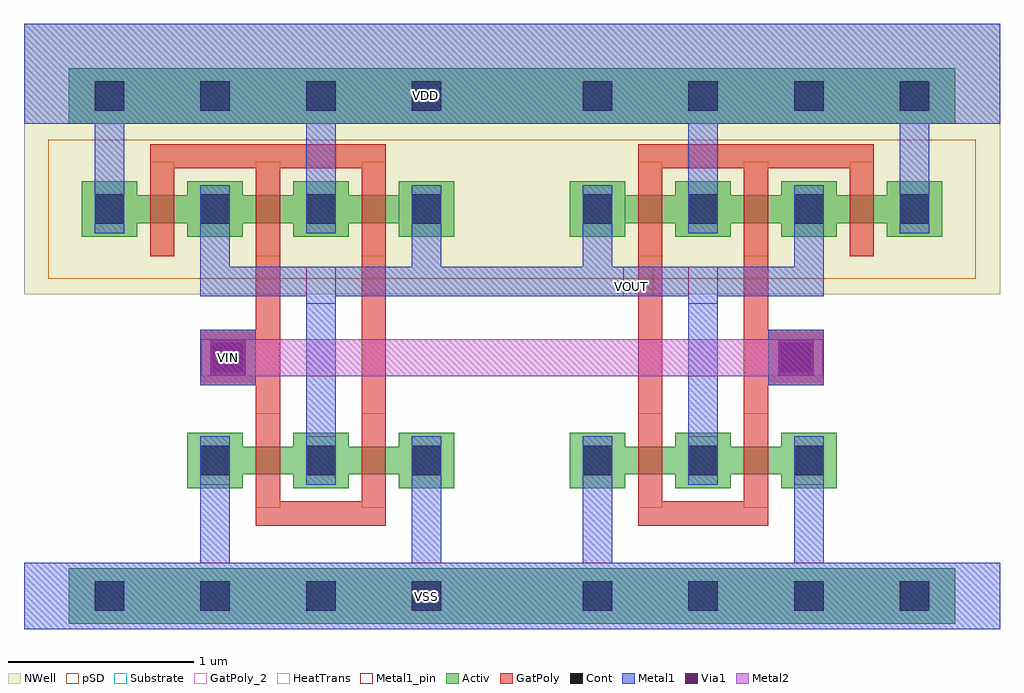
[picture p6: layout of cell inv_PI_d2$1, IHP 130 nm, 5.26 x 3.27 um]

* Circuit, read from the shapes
.subckt inv_PI_d2$1 VDD VIN VOUT VSS
XM1 VOUT VIN VSS VSS sg13_lv_nmos w=0.15u l=0.13u m=4
XM2 VOUT VIN VDD VDD sg13_lv_pmos w=0.15u l=0.13u m=6
.ends

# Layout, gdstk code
from math import pi, radians
import gdstk
lib = gdstk.Library(unit=1e-6, precision=5e-09)
def R(c, l, rs):  # rectangles x0, y0, x1, y1
    for r in rs: c.add(gdstk.rectangle(r[:2], r[2:], *l))
def A(c, l, x, y, w, h, nx, ny, dx, dy):  # array of equal rectangles
    R(c, l, [(x+i*dx, y+j*dy, x+i*dx+w, y+j*dy+h) for i in range(nx) for j in range(ny)])
Activ = (1, 0)
GatPoly = (5, 0)
GatPoly_2 = (5, 2)
Cont = (6, 0)
Metal1 = (8, 0)
Metal1_pin = (8, 2)
Metal2 = (10, 0)
pSD = (14, 0)
Via1 = (19, 0)
NWell = (31, 0)
Substrate = (40, 0)
HeatTrans = (51, 0)

pmos_1_1_1_1 = lib.new_cell('pmos$1$1$1$1')
A(pmos_1_1_1_1, Activ, 0, 0, 0.3, 0.3, 4, 1, 0.57, 0)
R(pmos_1_1_1_1, Activ, [(0,0.075,2.01,0.225)])
A(pmos_1_1_1_1, GatPoly, 0.37, -0.105, 0.13, 0.51, 3, 1, 0.57, 0)
R(pmos_1_1_1_1, GatPoly, [(0.37,-0.105,0.5,0.405)])
A(pmos_1_1_1_1, Cont, 0.07, 0.07, 0.16, 0.16, 4, 1, 0.57, 0)
A(pmos_1_1_1_1, Metal1, 0.64, 0.02, 0.16, 0.26, 3, 1, 0.57, 0)
R(pmos_1_1_1_1, Metal1, [(0.07,0.02,0.23,0.28), (0.07,0.02,0.23,0.28), (0.64,0.02,0.8,0.28)])
R(pmos_1_1_1_1, pSD, [(-0.18,-0.225,2.19,0.525)])
R(pmos_1_1_1_1, NWell, [(-0.31,-0.31,2.32,0.61)])
R(pmos_1_1_1_1, Substrate, [(1.71,0,2.01,0.3)])
A(pmos_1_1_1_1, HeatTrans, 0.37, -0.105, 0.13, 0.51, 3, 1, 0.57, 0)
pmos_1_1_1_1.add(gdstk.Label('pmos', (0.435,0.15), layer=63, texttype=0))
pmos_1_1_1_1.add(gdstk.Label('pmos', (0.435,0.15), layer=51, texttype=0))
pmos_1_1_1_1.add(gdstk.Label('pmos', (1.005,0.15), layer=51, texttype=0))
pmos_1_1_1_1.add(gdstk.Label('pmos', (1.575,0.15), layer=51, texttype=0))

nmos_9_3_1 = lib.new_cell('nmos$9$3$1')
A(nmos_9_3_1, Activ, 0, 0, 0.3, 0.3, 3, 1, 0.57, 0)
R(nmos_9_3_1, Activ, [(0,0.075,1.44,0.225)])
R(nmos_9_3_1, GatPoly, [(0.37,-0.105,0.5,0.405), (0.94,-0.105,1.07,0.405)])
R(nmos_9_3_1, GatPoly_2, [(0.37,-0.105,0.5,0.405)])
A(nmos_9_3_1, Cont, 0.07, 0.07, 0.16, 0.16, 3, 1, 0.57, 0)
A(nmos_9_3_1, Metal1, 0.07, 0.02, 0.16, 0.26, 3, 1, 0.57, 0)
R(nmos_9_3_1, Metal1_pin, [(0.07,0.02,0.23,0.28), (0.64,0.02,0.8,0.28)])
R(nmos_9_3_1, HeatTrans, [(0.37,-0.105,0.5,0.405), (0.94,-0.105,1.07,0.405)])
nmos_9_3_1.add(gdstk.Label('nmos', (0.435,0.15), layer=63, texttype=0))
nmos_9_3_1.add(gdstk.Label('nmos', (0.435,0.15), layer=51, texttype=0))
nmos_9_3_1.add(gdstk.Label('nmos', (1.005,0.15), layer=51, texttype=0))

inv_pi_1 = lib.new_cell('inv_PI$1')
R(inv_pi_1, Activ, [(2,1.95,4.15,2.25), (2,4.645,4.15,4.945)])
R(inv_pi_1, GatPoly, [(3.01,2.48,3.71,2.61), (3.01,2.655,3.14,4.535), (3.58,2.655,3.71,4.535), (2.71,3.235,3.01,3.535), (2.44,3.93,2.57,4.535), (2.44,4.405,3.71,4.535)])
A(inv_pi_1, Cont, 2.14, 2.02, 0.16, 0.16, 4, 2, 0.57, 2.695)
R(inv_pi_1, Cont, [(2.78,3.305,2.94,3.465)])
R(inv_pi_1, Metal1, [(1.76,1.92,4.39,2.28), (2.71,1.95,2.87,2.96), (3.85,1.95,4.01,2.96), (3.28,2.7,3.44,3.875), (2.71,3.235,3.01,3.535), (2.71,3.715,4.01,3.875), (2.71,3.715,2.87,4.315), (3.85,3.715,4.01,4.315), (2.14,4.105,2.3,4.945), (3.28,4.105,3.44,4.945), (1.76,4.645,4.39,5.185)])
R(inv_pi_1, Metal1_pin, [(1.76,1.92,4.39,2.28), (2.71,3.235,3.01,3.535), (3.28,3.675,3.44,3.875), (1.76,4.645,4.39,5.185)])
R(inv_pi_1, pSD, [(1.76,1.92,4.39,2.28)])
R(inv_pi_1, NWell, [(1.76,4.645,4.39,5.185)])
inv_pi_1.add(gdstk.Reference(pmos_1_1_1_1, (2.07,4.035)))
inv_pi_1.add(gdstk.Reference(nmos_9_3_1, (2.64,2.68)))
inv_pi_1.add(gdstk.Label('VDD', (3.075,4.805), layer=8, texttype=25))
inv_pi_1.add(gdstk.Label('VOUT', (3.28,3.75), layer=8, texttype=25))
inv_pi_1.add(gdstk.Label('VIN', (2.8,3.32), layer=8, texttype=25))
inv_pi_1.add(gdstk.Label('VSS', (3.025,2.065), layer=8, texttype=25))

inv_pi_d2_1 = lib.new_cell('inv_PI_d2$1')
R(inv_pi_d2_1, Activ, [(4.15,1.95,4.63,2.25), (4.15,4.645,4.635,4.945)])
R(inv_pi_d2_1, Metal1, [(2.715,3.28,3.005,3.49), (5.775,3.28,6.065,3.49), (4.01,3.715,4.93,3.875)])
R(inv_pi_d2_1, Metal1_pin, [(1.76,1.92,7.02,2.28), (4.99,3.715,5.15,3.875), (1.76,4.645,7.02,5.185)])
R(inv_pi_d2_1, Metal2, [(2.715,3.285,6.065,3.485)])
R(inv_pi_d2_1, pSD, [(4.26,3.81,4.52,4.56)])
R(inv_pi_d2_1, Via1, [(2.765,3.29,2.955,3.48), (5.825,3.29,6.015,3.48)])
inv_pi_d2_1.add(gdstk.Reference(inv_pi_1, (0,0)))
inv_pi_d2_1.add(gdstk.Reference(inv_pi_1, (8.78,0), rotation=pi, x_reflection=True))
inv_pi_d2_1.add(gdstk.Label('VDD', (3.925,4.795), layer=8, texttype=25))
inv_pi_d2_1.add(gdstk.Label('VOUT', (5.035,3.77), layer=8, texttype=25))
inv_pi_d2_1.add(gdstk.Label('VIN', (2.86,3.385), layer=8, texttype=25))
inv_pi_d2_1.add(gdstk.Label('VSS', (3.93,2.1), layer=8, texttype=25))

lib.write_gds('inv_PI_d2_1.gds')
